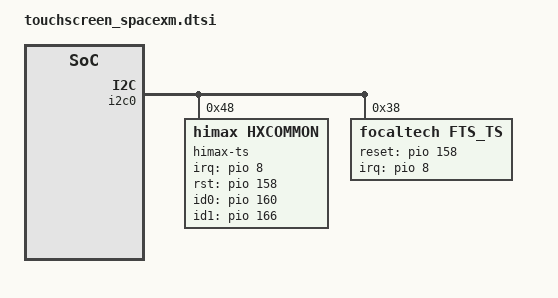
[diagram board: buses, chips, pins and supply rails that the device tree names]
&pio {
	tp_int_input: eint@0 {
		pins_cmd_dat {
			pins = <PINMUX_GPIO8__FUNC_GPIO8>;
			slew-rate = <0>;
			bias-disable;
		};
	};

	state_rst_output0: rstoutput0 {
		pins_cmd_dat {
			pins = <PINMUX_GPIO158__FUNC_GPIO158>;
			slew-rate = <1>;
			output-low;
		};
	};

	state_rst_output1: rstoutput1 {
		pins_cmd_dat {
			pins = <PINMUX_GPIO158__FUNC_GPIO158>;
			slew-rate = <1>;
			output-high;
		};
	};

	pmx_ts_lcdid0_init: lcdid0_init {
		pins_cmd_dat {
			pins = <PINMUX_GPIO160__FUNC_GPIO160>;
			slew-rate = <0>;
			bias-disable;
		};
	};

	pmx_ts_lcdid1_init: lcdid1_init {
		pins_cmd_dat {
			pins = <PINMUX_GPIO166__FUNC_GPIO166>;
			slew-rate = <0>;
			bias-disable;
		};
	};
};

&i2c0 {
	status = "okay";
	himax-ts@48 {
	compatible = "himax,hxcommon";
		reg = <0x48>;
		interrupt-parent = <&pio>;
		interrupts = <8 IRQ_TYPE_EDGE_FALLING 8 0>;
		pinctrl-names = "pmx_ts_init", "eint_as_int", "rst_output0", "rst_output1";
		pinctrl-0 = <&tp_int_input &state_rst_output1 &pmx_ts_lcdid0_init &pmx_ts_lcdid1_init>;
		pinctrl-1 = <&tp_int_input>;
		pinctrl-2 = <&state_rst_output0>;
		pinctrl-3 = <&state_rst_output1>;
		himax,panel-coords = <0 1080 0 2280>;
		himax,display-coords = <0 1080 0 2280>;
		himax,irq-gpio = <&pio 8 0x00>;
		himax,rst-gpio = <&pio 158 0x00>;
		himax,id0-gpio = <&pio 160 0x00>;
		himax,id1-gpio = <&pio 166 0x00>;
		report_type = <1>;
	};

	focaltech@38 {
		compatible = "focaltech,fts_ts";
		reg = <0x38>;
		interrupt-parent = <&pio>;
		interrupts = <8 IRQ_TYPE_EDGE_FALLING 8 0>;
		pinctrl-names = "pmx_ts_active", "pmx_ts_suspend", "eint_as_int", "rst_output0", "rst_output1";
		pinctrl-0 = <&tp_int_input &state_rst_output1 &pmx_ts_lcdid0_init &pmx_ts_lcdid1_init>;
		pinctrl-1 = <&tp_int_input &state_rst_output1 &pmx_ts_lcdid0_init &pmx_ts_lcdid1_init>;
		pinctrl-2= <&tp_int_input>;
		pinctrl-3 = <&state_rst_output0>;
		pinctrl-4 = <&state_rst_output1>;
		focaltech,reset-gpio = <&pio 158 0x00>;
		focaltech,irq-gpio = <&pio 8 0x00>;
		focaltech,display-coords = <0 0 1079 2279>;
		focaltech,max-touch-number = <10>;
	};
};

